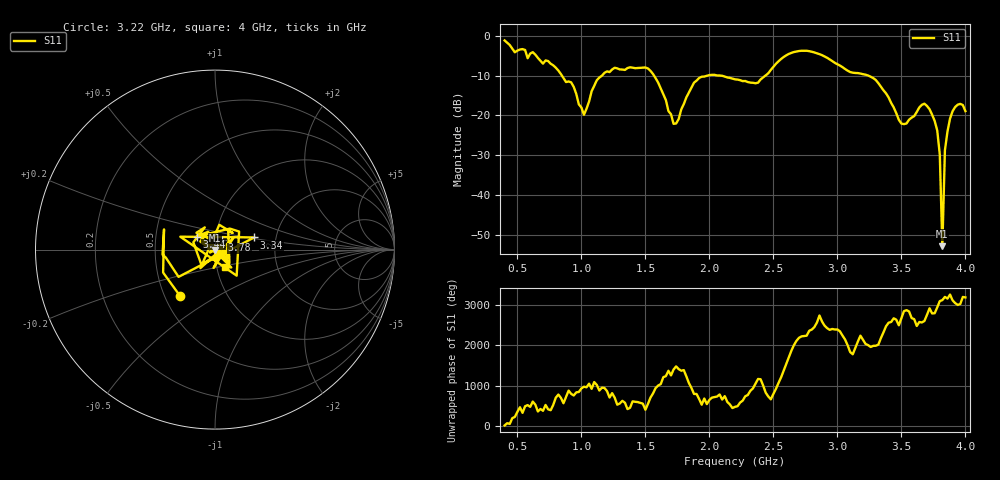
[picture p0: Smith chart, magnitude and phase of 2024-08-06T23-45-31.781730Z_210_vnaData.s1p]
!Created with skrf (http://scikit-rf.org).
# Hz S RI R 50.0
!freq ReS11 ImS11
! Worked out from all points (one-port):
!   181 points, 400 MHz to 4 GHz, reference 50 ohm
!   lowest |S11| = -52.8 dB at 3.82 GHz (marker M1), VSWR 1.00, Z = 49.9 - j0.186 ohm
!   |S11| at or under -10 dB: 1.567 GHz to 1.988 GHz (421.5 MHz wide, 23.7 % of centre); 2.077 GHz to 2.439 GHz (361.7 MHz wide, 16 % of centre); 3.24 GHz to end of sweep (the widest 3 of 4)
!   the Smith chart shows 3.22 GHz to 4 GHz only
!   S11 on the Smith chart (normalised r, x): 3.22 GHz: 0.60, -0.35; 3.34 GHz: 1.54, +0.22; 3.44 GHz: 0.81, +0.12; 3.78 GHz: 1.07, +0.11; 4 GHz: 1.10, -0.22
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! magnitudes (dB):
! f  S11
! 400 MHz  -1.2
! 860 MHz  -10.6
! 940 MHz  -12.8
! 1.02 GHz  -19.8
! 1.12 GHz  -11.2
! 1.3 GHz  -8.5
! 1.52 GHz  -8.2
! 1.6 GHz  -11.8
! 1.72 GHz  -22.1
! 1.76 GHz  -20.9
! 1.92 GHz  -10.6
! 2.2 GHz  -11.0
! 2.38 GHz  -11.8
! 2.66 GHz  -4.1
! 3.1 GHz  -9.1
! 3.22 GHz  -9.8
! 3.34 GHz  -12.8
! 3.44 GHz  -18.0
! 3.5 GHz  -22.1
! 3.56 GHz  -21.1
! 3.68 GHz  -17.1
! 3.78 GHz  -23.8
! 3.8 GHz  -29.8
! 3.82 GHz  -52.8
! 3.84 GHz  -28.8
! 3.86 GHz  -24.1
! 3.92 GHz  -17.9
! 4 GHz  -18.9
